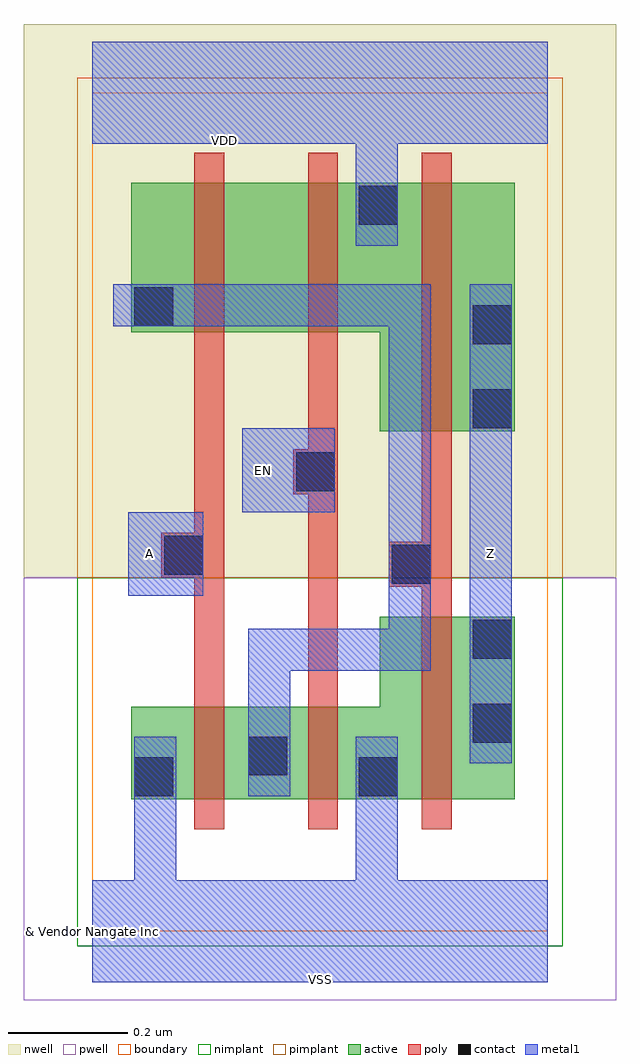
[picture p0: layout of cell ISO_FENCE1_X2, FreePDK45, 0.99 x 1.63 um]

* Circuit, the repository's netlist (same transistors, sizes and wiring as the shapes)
* 
* ******************************************************************************
* *                                                                            *
* *                   Copyright (C) 2004-2011, Nangate Inc.                    *
* *                           All rights reserved.                             *
* *                                                                            *
* * Nangate and the Nangate logo are trademarks of Nangate Inc.                *
* *                                                                            *
* * All trademarks, logos, software marks, and trade names (collectively the   *
* * "Marks") in this program are proprietary to Nangate or other respective    *
* * owners that have granted Nangate the right and license to use such Marks.  *
* * You are not permitted to use the Marks without the prior written consent   *
* * of Nangate or such third party that may own the Marks.                     *
* *                                                                            *
* * This file has been provided pursuant to a License Agreement containing     *
* * restrictions on its use. This file contains valuable trade secrets and     *
* * proprietary information of Nangate Inc., and is protected by U.S. and      *
* * international laws and/or treaties.                                        *
* *                                                                            *
* * The copyright notice(s) in this file does not indicate actual or intended  *
* * publication of this file.                                                  *
* *                                                                            *
* *     NGLibraryCreator, v2010.08-HR32-SP3-2010-08-05 - build 1009061800      *
* *                                                                            *
* ******************************************************************************
* 
* 
* Running on server08.nangate.com for user Giancarlo Franciscatto (gfr).
* Local time is now Thu, 6 Jan 2011, 19:45:46.
* Main process id is 3320.
*
********************************************************************************
*                                                                              *
* Cellname:   ISO_FENCE1_X2.                                                   *
*                                                                              *
* Technology: NCSU FreePDK 45nm.                                               *
* Format:     Cdl.                                                             *
*                                                                              *
* Written on server08.nangate.com for user Giancarlo Franciscatto (gfr)        *
* at 19:45:46 on Thu, 6 Jan 2011.                                              *
*                                                                              *
********************************************************************************
.SUBCKT ISO_FENCE1_X2 A EN Z VDD VSS 
*.PININFO A:I EN:I Z:O VDD:P VSS:G 
*.EQN Z=(A + EN)
M_i_0 net_000 A VSS VSS NMOS_VTL W=0.155000U L=0.050000U
M_i_7 VSS EN net_000 VSS NMOS_VTL W=0.155000U L=0.050000U
M_i_13 Z net_000 VSS VSS NMOS_VTL W=0.305000U L=0.050000U
M_i_20 net_001 A net_000 VDD PMOS_VTL W=0.250000U L=0.050000U
M_i_25 VDD EN net_001 VDD PMOS_VTL W=0.250000U L=0.050000U
M_i_31 Z net_000 VDD VDD PMOS_VTL W=0.415000U L=0.050000U
.ENDS 

********************************************************************************
*
* END
*
********************************************************************************

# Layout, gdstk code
import gdstk
lib = gdstk.Library(unit=1e-6, precision=1e-10)
def R(c, l, rs):  # rectangles x0, y0, x1, y1
    for r in rs: c.add(gdstk.rectangle(r[:2], r[2:], *l))
def P(c, l, *ps):  # polygons
    for p in ps: c.add(gdstk.Polygon(p, *l))
active = (1, 0)
pwell = (2, 0)
nwell = (3, 0)
nimplant = (4, 0)
pimplant = (5, 0)
poly = (9, 0)
contact = (10, 0)
metal1 = (11, 0)
boundary = (235, 0)

iso_fence1_x2 = lib.new_cell('ISO_FENCE1_X2')
P(iso_fence1_x2, active, [(0.065,0.22),(0.705,0.22),(0.705,0.525),(0.48,0.525),(0.48,0.375),(0.065,0.375)],
  [(0.065,1),(0.48,1),(0.48,0.835),(0.705,0.835),(0.705,1.25),(0.065,1.25)])
R(iso_fence1_x2, pwell, [(-0.115,-0.115,0.875,0.59)])
R(iso_fence1_x2, nwell, [(-0.115,0.59,0.875,1.515)])
R(iso_fence1_x2, nimplant, [(-0.025,-0.025,0.785,0.59)])
R(iso_fence1_x2, pimplant, [(-0.025,0.59,0.785,1.425)])
P(iso_fence1_x2, poly, [(0.115,0.59),(0.17,0.59),(0.17,0.17),(0.22,0.17),(0.22,1.3),(0.17,1.3),(0.17,0.665),(0.115,0.665)],
  [(0.335,0.73),(0.36,0.73),(0.36,0.17),(0.41,0.17),(0.41,1.3),(0.36,1.3),(0.36,0.805),(0.335,0.805)],
  [(0.495,0.575),(0.55,0.575),(0.55,0.17),(0.6,0.17),(0.6,1.3),(0.55,1.3),(0.55,0.65),(0.495,0.65)])
R(iso_fence1_x2, contact, [(0.07,0.225,0.135,0.29), (0.445,0.225,0.51,0.29), (0.26,0.26,0.325,0.325), (0.635,0.315,0.7,0.38), (0.635,0.455,0.7,0.52), (0.5,0.58,0.565,0.645), (0.12,0.595,0.185,0.66), (0.34,0.735,0.405,0.8), (0.635,0.84,0.7,0.905), (0.635,0.98,0.7,1.045), (0.07,1.01,0.135,1.075), (0.445,1.18,0.51,1.245)])
R(iso_fence1_x2, metal1, [(0.63,0.28,0.7,1.08), (0.06,0.56,0.185,0.7), (0.25,0.7,0.405,0.84)])
P(iso_fence1_x2, metal1, [(0,-0.085),(0.76,-0.085),(0.76,0.085),(0.51,0.085),(0.51,0.325),(0.44,0.325),(0.44,0.085),(0.14,0.085),(0.14,0.325),(0.07,0.325),(0.07,0.085),(0,0.085)],
  [(0,1.315),(0.44,1.315),(0.44,1.145),(0.51,1.145),(0.51,1.315),(0.76,1.315),(0.76,1.485),(0,1.485)],
  [(0.035,1.01),(0.495,1.01),(0.495,0.505),(0.26,0.505),(0.26,0.225),(0.33,0.225),(0.33,0.435),(0.565,0.435),(0.565,1.08),(0.035,1.08)])
R(iso_fence1_x2, boundary, [(0,0,0.76,1.4)])
iso_fence1_x2.add(gdstk.Label('A', (0.095,0.63), layer=11, texttype=0))
iso_fence1_x2.add(gdstk.Label('EN', (0.285,0.77), layer=11, texttype=0))
iso_fence1_x2.add(gdstk.Label('VDD', (0.22,1.32), layer=11, texttype=0))
iso_fence1_x2.add(gdstk.Label('VSS', (0.38,-0.08), layer=11, texttype=0))
iso_fence1_x2.add(gdstk.Label('Z', (0.665,0.63), layer=11, texttype=0))
iso_fence1_x2.add(gdstk.Label('& Vendor Nangate Inc', (0,0), layer=63, texttype=63))
iso_fence1_x2.add(gdstk.Label('& Product Open Cell Library', (0,0), layer=63, texttype=63))
iso_fence1_x2.add(gdstk.Label('& Version 2010_12', (0,0), layer=63, texttype=63))
iso_fence1_x2.add(gdstk.Label('& Instance ISO_FENCE1_X2', (0,0), layer=63, texttype=63))

lib.write_gds('ISO_FENCE1_X2.gds')
